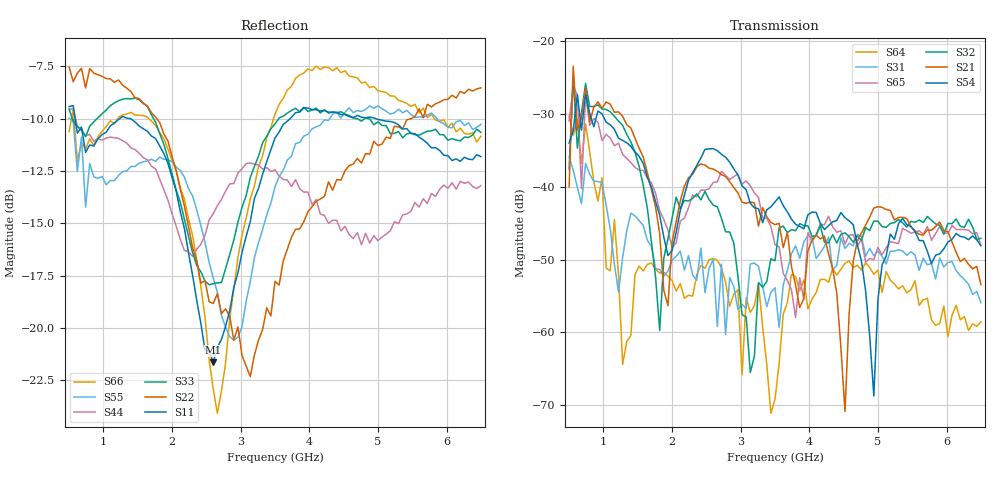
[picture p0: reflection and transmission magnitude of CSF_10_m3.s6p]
!Keysight Technologies,M9804A,MY58100912,A.14.10.03
!Date: Thursday, April 27, 2023 10:28:33
!Correction: S11(C  6-Port  )
!S12(C  6-Port  )
!S13(C  6-Port  )
!S14(C  6-Port  )
!S15(C  6-Port  )
!S16(C  6-Port  )
!S21(C  6-Port  )
!S22(C  6-Port  )
!S23(C  6-Port  )
!S24(C  6-Port  )
!S25(C  6-Port  )
!S26(C  6-Port  )
!S31(C  6-Port  )
!S32(C  6-Port  )
!S33(C  6-Port  )
!S34(C  6-Port  )
!S35(C  6-Port  )
!S36(C  6-Port  )
!S41(C  6-Port  )
!S42(C  6-Port  )
!S43(C  6-Port  )
!S44(C  6-Port  )
!S45(C  6-Port  )
!S46(C  6-Port  )
!S51(C  6-Port  )
!S52(C  6-Port  )
!S53(C  6-Port  )
!S54(C  6-Port  )
!S55(C  6-Port  )
!S56(C  6-Port  )
!S61(C  6-Port  )
!S62(C  6-Port  )
!S63(C  6-Port  )
!S64(C  6-Port  )
!S65(C  6-Port  )
!S66(C  6-Port  )
!S6P File: Measurement: :
# Hz S  RI  R 50
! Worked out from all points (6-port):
!   101 points, 500 MHz to 6.5 GHz, reference 50 ohm
!   strongest paths, dB at 500 MHz, 2 GHz, 3.5 GHz, 5 GHz, 6.5 GHz:
!     S54: -34.0, -48.8, -42.1, -55.5, -48.1
!     S21: -40.0, -47.6, -45.2, -42.7, -53.4
!     S32: -37.5, -44.3, -50.2, -44.7, -47.1
!     S65: -30.9, -48.3, -47.9, -48.3, -48.0
!     S31: -35.9, -50.1, -53.9, -48.8, -55.9
!     S64: -30.2, -52.9, -69.2, -51.5, -58.6
!   lowest |S11| = -21.6 dB at 2.6 GHz (marker M1), VSWR 1.18, Z = 42.6 + j2.05 ohm
!   |S11| at or under -10 dB: 588.5 MHz to 1.236 GHz (647.3 MHz wide, 71 % of centre); 1.4 GHz to 3.717 GHz (2.317 GHz wide, 90.6 % of centre); 4.974 GHz to end of sweep
